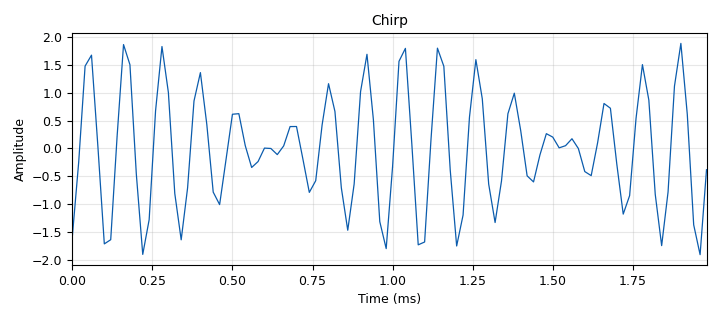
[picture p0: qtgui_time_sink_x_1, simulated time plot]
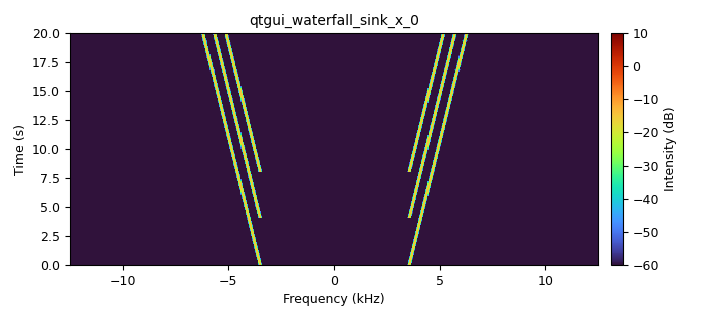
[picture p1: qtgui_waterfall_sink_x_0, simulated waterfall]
options:
  parameters:
    generate_options: qt_gui
    id: chirp_generation_with_python
    output_language: python
    title: Not titled yet
  states: {}

blocks:
- name: samp_rate
  id: variable
  parameters:
    value: 50e3
  states: {}
- name: analog_sig_source_x_0
  id: analog_sig_source_x
  parameters:
    amp: util.np.pi/2-util.np.pi/16
    freq: '0.05'
    offset: util.np.pi/16
    phase: '0'
    samp_rate: samp_rate
    type: float
    waveform: analog.GR_SAW_WAVE
  states: {}
- name: blocks_add_xx_0
  id: blocks_add_xx
  parameters:
    num_inputs: '3'
    type: float
  states: {}
- name: blocks_delay_0
  id: blocks_delay
  parameters:
    delay: '100000'
    type: float
  states: {}
- name: blocks_delay_0_1_0
  id: blocks_delay
  parameters:
    delay: '100000'
    type: float
  states: {}
- name: blocks_throttle_0
  id: blocks_throttle
  parameters:
    samples_per_second: samp_rate
    type: float
  states: {}
- name: blocks_vector_source_x_0
  id: blocks_vector_source_x
  parameters:
    repeat: 'True'
    type: float
    vector: (1,1,1)
  states: {state: disabled}
- name: epy_block_0
  id: epy_block
  parameters:
    _source_code: |
      """
      Chirp Generator Block:

      Generates a chirp waveform when given an angle increment
      """

      import numpy as np
      from gnuradio import gr


      class blk(gr.sync_block): 
          """Chirp Generator"""

          def __init__(self):  
              """arguments to this function show up as parameters in GRC"""
              gr.sync_block.__init__(
                  self,
                  name='Chirp Generator', 
                  in_sig=[np.float32],
                  out_sig=[np.float32]
              )
              self.start_angle_rad=0.0

          def work(self, input_items, output_items):

              #angle increment
              input_angle_delta_rad = input_items[0]
              
              #Make sure the ending angle is added to the start of each block to keep the chirp continuous
              input_angle_delta_rad[0] =  self.start_angle_rad + input_angle_delta_rad[0]
              #add the deltas together to get the actual angle
              input_angle_rad = np.cumsum(input_angle_delta_rad)

              output_sin_values = np.sin(input_angle_rad)       
         
              #prevent overflow of the angle
              self.start_angle_rad = (input_angle_rad[len(input_angle_rad)-1] + np.pi) % (2 * np.pi) - np.pi
              
              if len(output_items[0]) != len(output_sin_values):
                  print(f"ERROR: output_items[0] len = {len(output_items[0])}, output_sin_values len = {len(output_sin_values)}")        	
              output_items[0][:] = output_sin_values
              return len(output_items[0])
  states: {}
- name: qtgui_time_sink_x_1
  id: qtgui_time_sink_x
  parameters:
    autoscale: 'True'
    entags: 'False'
    gui_hint: '[2,0,1,1]'
    legend: 'False'
    name: Chirp
    size: '100'
    srate: samp_rate
    type: float
  states: {}
- name: qtgui_waterfall_sink_x_0
  id: qtgui_waterfall_sink_x
  parameters:
    bw: samp_rate/2
    fc: '0'
    fftsize: '1024'
    gui_hint: '[0, 0, 2, 1]'
    int_min: '-60'
    type: float
    wintype: firdes.WIN_BLACKMAN_hARRIS
  states: {}
- name: util
  id: epy_module
  parameters:
    source_code: |
      # this module will be imported in the into your flowgraph
      import numpy as np
  states: {}

connections:
- [analog_sig_source_x_0, '0', blocks_throttle_0, '0']
- [blocks_add_xx_0, '0', qtgui_time_sink_x_1, '0']
- [blocks_add_xx_0, '0', qtgui_waterfall_sink_x_0, '0']
- [blocks_delay_0, '0', blocks_add_xx_0, '2']
- [blocks_delay_0_1_0, '0', blocks_add_xx_0, '1']
- [blocks_delay_0_1_0, '0', blocks_delay_0, '0']
- [blocks_throttle_0, '0', epy_block_0, '0']
- [blocks_vector_source_x_0, '0', blocks_throttle_0, '0']
- [epy_block_0, '0', blocks_add_xx_0, '0']
- [epy_block_0, '0', blocks_delay_0_1_0, '0']

metadata:
  file_format: 1
